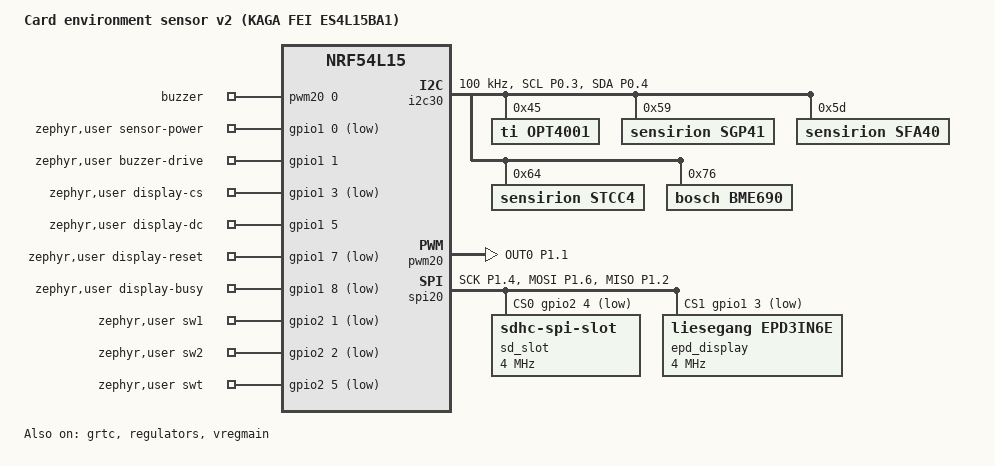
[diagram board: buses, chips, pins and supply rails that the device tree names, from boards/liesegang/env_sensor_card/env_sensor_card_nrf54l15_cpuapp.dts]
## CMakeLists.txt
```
cmake_minimum_required(VERSION 3.20.0)

list(APPEND BOARD_ROOT ${CMAKE_CURRENT_SOURCE_DIR})
# NCS 3.4.1 may cache these generated header names without Kconfig quotes.
foreach(crypto_header MBEDTLS_CONFIG_FILE TF_PSA_CRYPTO_CONFIG_FILE TF_PSA_CRYPTO_USER_CONFIG_FILE)
  unset(CONFIG_${crypto_header} CACHE)
endforeach()
find_package(Zephyr REQUIRED HINTS $ENV{ZEPHYR_BASE})
project(env_sensor_card)

target_sources(app PRIVATE src/main.c src/sd_logger.c src/switch_test.c src/pmic.c
                           src/card_display.c src/card_ble.c src/co2_alarm.c src/card_image_transfer.c
                           src/card_history.c)

set(SHARED_SENSOR_DRIVER_DIR "${CMAKE_CURRENT_SOURCE_DIR}/../../shared/firmware/driver")
foreach(driver common opt4001 bme690 sgp41 stcc4 sht45 sfa40 epd3in6e epd_dashboard)
  add_subdirectory("${SHARED_SENSOR_DRIVER_DIR}/${driver}"
                   "${CMAKE_CURRENT_BINARY_DIR}/shared_${driver}")
endforeach()

add_subdirectory("${CMAKE_CURRENT_SOURCE_DIR}/../../shared/firmware/telemetry"
                 "${CMAKE_CURRENT_BINARY_DIR}/shared_telemetry")
add_subdirectory("${CMAKE_CURRENT_SOURCE_DIR}/../../shared/firmware/history"
                 "${CMAKE_CURRENT_BINARY_DIR}/shared_history")
```

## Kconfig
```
mainmenu "Card environment sensor"

source "Kconfig.zephyr"
rsource "../../shared/firmware/telemetry/Kconfig"

config CARD_TEST_CADENCE
	bool "Accelerated SD/display hardware verification (40 seconds)"
	default n
	help
	  Diagnostic only. Measurement stays at 1 Hz and BLE at 60 seconds.
	  SD and display intervals become 40 rather than 600 seconds.
	  Diagnostic CSV files use the TST prefix.

config CARD_SWITCH_POLL_MS
	int "Poll interval for switch ports without GPIO interrupts (0 disables)"
	range 0 1000
	default 50
	help
	  Card v2 switches are on P2, which cannot generate interrupts or wake
	  the CPU. The application stays in System ON and polls every 50 ms
	  for responsive UI and asynchronous three-second pairing holds.

config CARD_ALARM_TEST_ON_BOOT
	bool "Sound the five-beep CO2 alarm once at boot for hardware verification"
	default n
	help
	  Diagnostic only. Exercises the alarm with 1201 ppm without changing
	  any actual sensor value, SD record, graph or BLE telemetry packet.
```

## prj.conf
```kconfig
CONFIG_GPIO=y
CONFIG_PWM=y
CONFIG_PM_DEVICE=y
CONFIG_PM_DEVICE_RUNTIME=y
# Keep the application in System ON; only short RTOS scheduling waits remain.
CONFIG_PM=n
CONFIG_POWEROFF=n
CONFIG_I2C=y
CONFIG_I2C_NRFX_TRANSFER_TIMEOUT=100
CONFIG_SPI=y
CONFIG_CPP=y
CONFIG_STD_CPP11=y
CONFIG_PICOLIBC_IO_FLOAT=y
CONFIG_DISK_DRIVER_SDMMC=y
CONFIG_FILE_SYSTEM=y
CONFIG_FAT_FILESYSTEM_ELM=y
# Never format an existing or unrecognized card while mounting it.
CONFIG_FS_FATFS_MOUNT_MKFS=n
CONFIG_FS_FATFS_MKFS=n

# The card has no UART console; use the connected SWD probe.
CONFIG_CONSOLE=y
CONFIG_USE_SEGGER_RTT=y
CONFIG_RTT_CONSOLE=y
CONFIG_UART_CONSOLE=n
CONFIG_SERIAL=n
CONFIG_PRINTK=y
CONFIG_SEGGER_RTT_MODE_NO_BLOCK_SKIP=y
CONFIG_SEGGER_RTT_BUFFER_SIZE_UP=8192
# Firmware updates can move RTT buffers; reset retained control-block pointers.
CONFIG_SEGGER_RTT_INIT_MODE_ALWAYS=y

CONFIG_MAIN_STACK_SIZE=4096
CONFIG_BUILD_OUTPUT_HEX=y
CONFIG_NRF_APPROTECT_DISABLE=y

CONFIG_CARD_TEST_CADENCE=n
CONFIG_CARD_ALARM_TEST_ON_BOOT=n
CONFIG_CARD_SWITCH_POLL_MS=50
CONFIG_BT=y
CONFIG_BT_PERIPHERAL=y
CONFIG_BT_DEVICE_NAME="Card Sensor"
CONFIG_BT_MAX_CONN=1
CONFIG_BT_SMP=y
CONFIG_BT_SMP_SC_ONLY=y
CONFIG_BT_SMP_APP_PAIRING_ACCEPT=y
CONFIG_BT_APP_PASSKEY=y
CONFIG_BT_BONDABLE=y
CONFIG_BT_BONDING_REQUIRED=y
CONFIG_BT_MAX_PAIRED=1
CONFIG_BT_SETTINGS=y
CONFIG_BT_GATT_SERVICE_CHANGED=y
CONFIG_BT_GATT_CACHING=y
# Save CCC as the link disconnects, without an extra periodic delayed write.
CONFIG_BT_SETTINGS_CCC_STORE_ON_WRITE=n
CONFIG_BT_SETTINGS_CF_STORE_ON_WRITE=n
CONFIG_ENV_TELEMETRY_SECURE=y
# Internal RRAM key storage; do not put secrets in the removable SD filesystem.
CONFIG_FLASH=y
CONFIG_FLASH_MAP=y
CONFIG_USE_DT_CODE_PARTITION=y
CONFIG_SETTINGS=y
CONFIG_ZMS=y
CONFIG_SETTINGS_ZMS=y
CONFIG_ZMS_NO_DOUBLE_WRITE=y
CONFIG_BT_L2CAP_TX_MTU=247
CONFIG_BT_BUF_ACL_RX_SIZE=251
CONFIG_BT_BUF_ACL_TX_SIZE=251
# Release the controller and its LFRC calibration timer between minute windows.
CONFIG_DYNAMIC_INTERRUPTS=y
CONFIG_DYNAMIC_DIRECT_INTERRUPTS=y
CONFIG_MPSL_DYNAMIC_INTERRUPTS=y
CONFIG_BT_UNINIT_MPSL_ON_DISABLE=y
# Transfer every 1-Hz record in short connections (15--30 ms, no latency).
CONFIG_BT_PERIPHERAL_PREF_MIN_INT=12
CONFIG_BT_PERIPHERAL_PREF_MAX_INT=24
CONFIG_BT_PERIPHERAL_PREF_LATENCY=0
CONFIG_BT_PERIPHERAL_PREF_TIMEOUT=600
CONFIG_CLOCK_CONTROL_NRF_K32SRC_RC_CALIBRATION=y
CONFIG_CLOCK_CONTROL_NRF_K32SRC_500PPM=y
CONFIG_SYSTEM_WORKQUEUE_STACK_SIZE=3072
```

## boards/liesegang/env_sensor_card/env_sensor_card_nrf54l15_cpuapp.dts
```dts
/dts-v1/;

#include <nordic/nrf54l15_cpuapp.dtsi>
#include <zephyr/dt-bindings/gpio/gpio.h>
#include <zephyr/dt-bindings/i2c/i2c.h>
#include <zephyr/dt-bindings/pinctrl/nrf-pinctrl.h>
#include <zephyr/dt-bindings/regulator/nrf5x.h>
#include <zephyr/dt-bindings/pwm/pwm.h>

/ {
	model = "Card environment sensor v2 (KAGA FEI ES4L15BA1)";
	compatible = "liesegang,env-sensor-card";

	chosen {
		zephyr,sram = &cpuapp_sram;
		zephyr,flash = &cpuapp_rram;
		zephyr,flash-controller = &rram_controller;
		zephyr,code-partition = &code_partition;
		zephyr,settings-partition = &storage_partition;
	};

	aliases {
		i2c-sensors = &i2c30;
		buzzer = &buzzer;
	};

	buzzers {
		compatible = "pwm-leds";
		buzzer: buzzer {
			/* UGCT7525: 2700 Hz resonance, square wave at 50% duty. */
			pwms = <&pwm20 0 PWM_HZ(2700) PWM_POLARITY_NORMAL>;
		};
	};

	zephyr,user {
		/* P1.00 low turns on FET3 and supplies +V to BUZZ1. */
		sensor-power-gpios = <&gpio1 0 GPIO_ACTIVE_LOW>;
		/* Keep the active-high buzzer transistor off. */
		buzzer-drive-gpios = <&gpio1 1 GPIO_ACTIVE_HIGH>;
		/* Display shares SD SCK/MOSI and uses a separate chip select. */
		display-cs-gpios = <&gpio1 3 GPIO_ACTIVE_LOW>;
		display-dc-gpios = <&gpio1 5 GPIO_ACTIVE_HIGH>;
		display-reset-gpios = <&gpio1 7 GPIO_ACTIVE_LOW>;
		display-busy-gpios = <&gpio1 8 GPIO_ACTIVE_LOW>;
		/* S1 wheel: contacts 1, 2 and T close to grounded C1/C2. */
		sw1-gpios = <&gpio2 1 GPIO_ACTIVE_LOW>;
		sw2-gpios = <&gpio2 2 GPIO_ACTIVE_LOW>;
		swt-gpios = <&gpio2 5 GPIO_ACTIVE_LOW>;
	};
};

&cpuapp_rram {
	partitions {
		#address-cells = <1>;
		#size-cells = <1>;
		code_partition: partition@0 {
			compatible = "zephyr,mapped-partition";
			label = "card-app";
			reg = <0x0 0x174000>;
		};
		/* Same 36 KiB storage range as the SDK nRF54L15 layout. */
		storage_partition: partition@174000 {
			compatible = "zephyr,mapped-partition";
			label = "storage";
			reg = <0x174000 0x9000>;
		};
	};
};

&cpuapp_sram {
	status = "okay";
};

&clock {
	status = "okay";
};

&grtc {
	owned-channels = <0 1 2 3 4 5 6 7 8 9 10 11>;
	child-owned-channels = <3 4 7 8 9 10 11>;
	status = "okay";
};

&lfxo {
	status = "disabled";
};

/* Match the same ES4L15BA1 module used by the working Outdoor BLE board. */
&hfxo {
	load-capacitors = "internal";
	load-capacitance-femtofarad = <15000>;
};

&regulators {
	status = "okay";
};

&vregmain {
	status = "okay";
	regulator-initial-mode = <NRF5X_REG_MODE_DCDC>;
};

&gpio0 {
	status = "okay";
};

&gpio1 {
	status = "okay";
};

&gpio2 {
	status = "okay";
};

&gpiote20 {
	status = "okay";
};

&gpiote30 {
	status = "okay";
};

&pinctrl {
	buzzer_pwm_default: buzzer_pwm_default {
		group1 {
			psels = <NRF_PSEL(PWM_OUT0, 1, 1)>;
		};
	};

	buzzer_pwm_sleep: buzzer_pwm_sleep {
		group1 {
			psels = <NRF_PSEL(PWM_OUT0, 1, 1)>;
			low-power-enable;
		};
	};

	i2c30_default: i2c30_default {
		group1 {
			/* R12/R13 are 5.1-kohm pull-ups to switched +V. */
			psels = <NRF_PSEL(TWIM_SCL, 0, 3)>,
				<NRF_PSEL(TWIM_SDA, 0, 4)>;
		};
	};

	i2c30_sleep: i2c30_sleep {
		group1 {
			psels = <NRF_PSEL(TWIM_SCL, 0, 3)>,
				<NRF_PSEL(TWIM_SDA, 0, 4)>;
			low-power-enable;
		};
	};

	sd_spi_default: sd_spi_default {
		group1 {
			psels = <NRF_PSEL(SPIM_SCK, 1, 4)>,
				<NRF_PSEL(SPIM_MOSI, 1, 6)>,
				<NRF_PSEL(SPIM_MISO, 1, 2)>;
		};
	};

	sd_spi_sleep: sd_spi_sleep {
		group1 {
			psels = <NRF_PSEL(SPIM_SCK, 1, 4)>,
				<NRF_PSEL(SPIM_MOSI, 1, 6)>,
				<NRF_PSEL(SPIM_MISO, 1, 2)>;
			low-power-enable;
		};
	};
};

&i2c30 {
	status = "okay";
	clock-frequency = <I2C_BITRATE_STANDARD>;
	pinctrl-0 = <&i2c30_default>;
	pinctrl-1 = <&i2c30_sleep>;
	pinctrl-names = "default", "sleep";

	opt4001: light@45 {
		compatible = "ti,opt4001";
		reg = <0x45>;
	};

	sgp41: gas@59 {
		compatible = "sensirion,sgp41";
		reg = <0x59>;
	};

	sfa40: formaldehyde@5d {
		compatible = "sensirion,sfa40";
		reg = <0x5d>;
	};

	stcc4: co2@64 {
		compatible = "sensirion,stcc4";
		reg = <0x64>;
		measurement-mode = <0>;
	};

	bme690: environment@76 {
		compatible = "bosch,bme690";
		reg = <0x76>;
	};
};

&pwm20 {
	status = "okay";
	pinctrl-0 = <&buzzer_pwm_default>;
	pinctrl-1 = <&buzzer_pwm_sleep>;
	pinctrl-names = "default", "sleep";
};

&spi20 {
	status = "okay";
	pinctrl-0 = <&sd_spi_default>;
	pinctrl-1 = <&sd_spi_sleep>;
	pinctrl-names = "default", "sleep";
	cs-gpios = <&gpio2 4 GPIO_ACTIVE_LOW>, <&gpio1 3 GPIO_ACTIVE_LOW>;

	sd_slot: sd@0 {
		compatible = "zephyr,sdhc-spi-slot";
		reg = <0>;
		spi-max-frequency = <4000000>;

		sd_card: sd {
			compatible = "zephyr,sdmmc-disk";
			disk-name = "SD";
		};
	};

	epd_display: display@1 {
		compatible = "liesegang,epd3in6e";
		reg = <1>;
		spi-max-frequency = <4000000>;
	};
};

&uicr {
	/* P1.02 is SD MISO, P1.03 is display CS: release both NFC pads. */
	nfct-pins-as-gpios;
};
```

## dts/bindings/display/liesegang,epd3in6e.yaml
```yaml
description: Waveshare 3.6 inch Spectra 6 e-paper (E), 400 by 600 pixels
compatible: "liesegang,epd3in6e"
include: spi-device.yaml
```

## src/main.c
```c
#include <bme690.h>
#include <opt4001.h>
#include <sgp41.h>
#include <stcc4.h>
#include <sfa40.h>

#include "sd_logger.h"
#include "card_sample.h"
#include "card_ble.h"
#include "card_history.h"
#include "switch_test.h"
#include "pmic.h"
#include "card_display.h"
#include "co2_alarm.h"
#include "card_cadence.h"
#include "card_image_transfer.h"

#include <errno.h>
#include <stdbool.h>
#include <string.h>

#include <zephyr/drivers/gpio.h>
#include <zephyr/kernel.h>
#include <zephyr/pm/device_runtime.h>
#include <zephyr/sys/printk.h>
#include <zephyr/sys/util.h>
#include <zephyr/sys/atomic.h>

static const struct gpio_dt_spec buzzer_drive =
	GPIO_DT_SPEC_GET(DT_PATH(zephyr_user), buzzer_drive_gpios);
static const struct gpio_dt_spec sensor_power =
	GPIO_DT_SPEC_GET(DT_PATH(zephyr_user), sensor_power_gpios);
static const struct gpio_dt_spec display_cs =
	GPIO_DT_SPEC_GET(DT_PATH(zephyr_user), display_cs_gpios);
static const struct gpio_dt_spec display_reset =
	GPIO_DT_SPEC_GET(DT_PATH(zephyr_user), display_reset_gpios);

static atomic_t opt_ready;
static atomic_t bme_ready;
static atomic_t sgp_ready;
static atomic_t stcc_ready;
static bool stcc_has_sht;
static bool stcc_needs_external_rht;
static uint16_t stcc_self_test;
static atomic_t sfa_ready;
static struct opt4001_sample last_opt;
static struct bme690_sample last_bme;
static struct stcc4_sample last_stcc;
static struct sgp41_sample last_sgp;
static struct sfa40_sample last_sfa;
static bool sfa_sample_available;
static bool display_ready;
static bool alarm_ready;

struct card_snapshot {
	struct card_sample sample;
	struct opt4001_sample opt;
	struct bme690_sample bme;
	struct stcc4_sample stcc;
	struct sgp41_sample sgp;
	struct sfa40_sample sfa;
	bool sfa_available;
	int64_t started_ms;
};
static struct card_snapshot latest_snapshot;
K_MUTEX_DEFINE(snapshot_lock);
K_SEM_DEFINE(acquisition_start, 0, 1);
K_SEM_DEFINE(first_sample_available, 0, 1);

BUILD_ASSERT(DT_GPIO_PIN(DT_PATH(zephyr_user), buzzer_drive_gpios) == 1,
	     "The v2 buzzer drive is on P1.01");
BUILD_ASSERT(DT_GPIO_FLAGS(DT_PATH(zephyr_user), buzzer_drive_gpios) == GPIO_ACTIVE_HIGH,
	     "The v2 buzzer drive is active-high");
BUILD_ASSERT(DT_GPIO_PIN(DT_PATH(zephyr_user), sensor_power_gpios) == 0,
	     "The v2 +V enable is on P1.00");
BUILD_ASSERT(DT_GPIO_FLAGS(DT_PATH(zephyr_user), sensor_power_gpios) == GPIO_ACTIVE_LOW,
	     "The v2 +V enable is active-low");

static void print_milli(int32_t value)
{
	uint32_t magnitude = value < 0 ? (uint32_t)-(int64_t)value : (uint32_t)value;

	printk("%s%u.%03u", value < 0 ? "-" : "", magnitude / 1000, magnitude % 1000);
}

static bool report_init(const char *name, int err)
{
	if (err != 0) {
		printk("ERROR: %s init failed: %d\n", name, err);
		return false;
	}
	printk("%s READY\n", name);
	return true;
}

static int power_on_sensors(void)
{
	if (!gpio_is_ready_dt(&sensor_power) || !gpio_is_ready_dt(&buzzer_drive) ||
	    !gpio_is_ready_dt(&display_cs) || !gpio_is_ready_dt(&display_reset)) {
		return -ENODEV;
	}
	/* Hold the switched rail off until the buzzer pin is driven low. */
	int err = gpio_pin_configure_dt(&sensor_power, GPIO_OUTPUT_INACTIVE);

	if (err != 0) {
		return err;
	}
	err = gpio_pin_configure_dt(&buzzer_drive, GPIO_OUTPUT_INACTIVE);
	if (err != 0) {
		return err;
	}
	/* Hold the panel deselected and in reset before its BUCK1 supply starts. */
	err = gpio_pin_configure_dt(&display_cs, GPIO_OUTPUT_INACTIVE);
	if (err != 0) {
		return err;
	}
	err = gpio_pin_configure_dt(&display_reset, GPIO_OUTPUT_ACTIVE);
	if (err != 0) {
		return err;
	}
	err = gpio_pin_set_dt(&sensor_power, 1);
	if (err == 0) {
		printk("+V ON; buzzer drive held low\n");
	}
	return err;
}

static void initialize_stcc(void)
{
	int err = stcc4_init_with_diagnostic(&stcc_self_test);

	if (err != 0) {
		printk("ERROR: STCC4 diagnostic: %d; trying normal continuous init\n", err);
		err = stcc4_init();
		stcc_has_sht = false;
		stcc_needs_external_rht = false;
	} else {
		stcc_has_sht = stcc_self_test == 0;
		stcc_needs_external_rht = (stcc_self_test & BIT(4)) != 0;
		printk("STCC4 self-test=0x%04x SHT45=%s\n", stcc_self_test,
		       stcc_has_sht ? "connected" : "unavailable/not validated");
		/* Supply, core I2C and memory faults invalidate CO2 measurements.
		 * A missing auxiliary SHT4x (bit 4) can use external compensation.
		 */
		if (stcc_self_test & (BIT(0) | BIT(3) | BIT(5) | BIT(6))) {
			printk("ERROR: STCC4 diagnostic fault; CO2 remains missing\n");
			err = -EIO;
		}
	}
	atomic_set(&stcc_ready, report_init("STCC4 continuous 1Hz", err));
}

static void initialize_sensors(void)
{
	atomic_set(&opt_ready, report_init("OPT4001 continuous", opt4001_init()));
	atomic_set(&bme_ready, report_init("BME690 1Hz forced", bme690_init()));
	atomic_set(&sgp_ready, report_init("SGP41 continuous 1Hz/indices", sgp41_init()));
	initialize_stcc();
	/* Absent SFA40 is expected; detect it again at the next minute. */
	atomic_set(&sfa_ready, sfa40_init() == 0);
	printk("SFA40 %s\n", atomic_get(&sfa_ready) ? "READY" : "not installed/unavailable");
}

static void read_sensors(struct card_sample *sample)
{
	int32_t compensation_temp = 25000, compensation_rh = 50000;
	int err;

	sfa_sample_available = false;

	if (atomic_get(&bme_ready)) {
		err = bme690_read(&last_bme);
		if (err == 0) {
			sample->bme_temperature_mc = last_bme.temperature_mc;
			sample->bme_humidity_mpercent = last_bme.humidity_mpercent;
			sample->temperature_mc = last_bme.temperature_mc;
			sample->humidity_mpercent = last_bme.humidity_mpercent;
			sample->pressure_pa = last_bme.pressure_pa;
			sample->gas_resistance_ohm = last_bme.gas_resistance_ohm;
			sample->gas_valid = last_bme.gas_valid;
			sample->heater_stable = last_bme.heater_stable;
			sample->rht_source = CARD_RHT_BME690;
			sample->valid |= CARD_VALID_TEMPERATURE | CARD_VALID_HUMIDITY |
				CARD_VALID_BME_TEMPERATURE | CARD_VALID_BME_HUMIDITY |
				CARD_VALID_PRESSURE;
			if (last_bme.gas_valid) {
				sample->valid |= CARD_VALID_BME_GAS;
			}
			compensation_temp = last_bme.temperature_mc;
			compensation_rh = last_bme.humidity_mpercent;
			printk("BME690: temp_C=");
			print_milli(last_bme.temperature_mc);
			printk(" rh_pct=");
			print_milli(last_bme.humidity_mpercent);
			printk(" pressure_Pa=%u gas_ohm=%u\n", last_bme.pressure_pa,
			       last_bme.gas_resistance_ohm);
		} else {
			printk("ERROR: BME690 read: %d\n", err);
			if (err != -EAGAIN) { atomic_clear(&bme_ready); }
		}
	}
	if (atomic_get(&stcc_ready)) {
		if (stcc_needs_external_rht) {
			err = stcc4_set_rht_compensation(compensation_temp, compensation_rh);
			if (err != 0) {
				printk("ERROR: STCC4 RHT compensation: %d\n", err);
			}
		}
		err = stcc4_read_wait(&last_stcc, 200);
		if (err == 0) {
			sample->co2_ppm = last_stcc.co2_ppm;
			sample->stcc_status = last_stcc.status;
			sample->stcc_self_test = stcc_self_test;
			if (last_stcc.co2_ppm >= 0) {
				sample->valid |= CARD_VALID_CO2;
			}
			printk("STCC4: co2_ppm=%d status=0x%04x continuous\n",
			       last_stcc.co2_ppm, last_stcc.status);
			if (stcc_has_sht) {
				sample->temperature_mc = last_stcc.temperature_mc;
				sample->humidity_mpercent = last_stcc.humidity_mpercent;
				sample->rht_source = CARD_RHT_SHT45;
				sample->valid |= CARD_VALID_TEMPERATURE | CARD_VALID_HUMIDITY;
				compensation_temp = last_stcc.temperature_mc;
				compensation_rh = last_stcc.humidity_mpercent;
				printk("SHT45: via=STCC4 temp_C=");
				print_milli(last_stcc.temperature_mc);
				printk(" rh_pct=");
				print_milli(last_stcc.humidity_mpercent);
				printk("\n");
			}
		} else {
			printk("ERROR: STCC4 read: %d\n", err);
			if (err != -EAGAIN) { atomic_clear(&stcc_ready); }
		}
	}
	if (atomic_get(&opt_ready)) {
		err = opt4001_read(&last_opt);
		if (err == 0) {
			sample->millilux = last_opt.millilux;
			sample->valid |= CARD_VALID_LUX;
			printk("OPT4001: lux=%u.%03u continuous\n",
			       last_opt.millilux / 1000, last_opt.millilux % 1000);
		} else {
			printk("ERROR: OPT4001 read: %d\n", err);
			if (err != -EAGAIN) { atomic_clear(&opt_ready); }
		}
	}
	if (atomic_get(&sfa_ready)) {
		err = sfa40_read(&last_sfa);
		if (err == 0) {
			sfa_sample_available = true;
			if (last_sfa.ready && last_sfa.within_specification) {
				sample->hcho_millippb = last_sfa.hcho_millippb;
				sample->valid |= CARD_VALID_HCHO;
			}
			printk("SFA40: hcho_millippb=%d ready=%u within_spec=%u\n",
			       last_sfa.hcho_millippb, last_sfa.ready,
			       last_sfa.within_specification);
		} else {
			printk("ERROR: SFA40 read: %d\n", err);
			if (err != -EAGAIN) { atomic_clear(&sfa_ready); }
		}
	}
	if (atomic_get(&sgp_ready)) {
		err = sgp41_read(compensation_temp, compensation_rh, &last_sgp);
		if (err == 0) {
			sample->raw_voc = last_sgp.raw_voc;
			sample->raw_nox = last_sgp.raw_nox;
			sample->valid |= CARD_VALID_VOC_RAW;
			if (last_sgp.nox_valid) {
				sample->valid |= CARD_VALID_NOX_RAW;
			}
			sample->voc_index = last_sgp.voc_index;
			sample->nox_index = last_sgp.nox_index;
			if (last_sgp.voc_index_valid) { sample->valid |= CARD_VALID_VOC_INDEX; }
			if (last_sgp.nox_index_valid) { sample->valid |= CARD_VALID_NOX_INDEX; }
			printk("SGP41: raw_voc=%u raw_nox=%u voc_index=%u/%u nox_index=%u/%u\n",
			       last_sgp.raw_voc, last_sgp.raw_nox,
			       last_sgp.voc_index, last_sgp.voc_index_valid,
			       last_sgp.nox_index, last_sgp.nox_index_valid);
		} else {
			printk("ERROR: SGP41 read: %d\n", err);
			if (err != -EAGAIN) { atomic_clear(&sgp_ready); }
		}
	}
}

/* Recover one unavailable driver from main while the 1-Hz thread continues
 * reading the other devices. Ready is published only after init completes. */
static void recover_sensors(void)
{
	if (!atomic_get(&opt_ready)) { atomic_set(&opt_ready, report_init("OPT4001 retry", opt4001_init())); }
	if (!atomic_get(&bme_ready)) { atomic_set(&bme_ready, report_init("BME690 retry", bme690_init())); }
	if (!atomic_get(&sgp_ready)) { atomic_set(&sgp_ready, report_init("SGP41 retry", sgp41_init())); }
	if (!atomic_get(&stcc_ready)) { initialize_stcc(); }
	if (!atomic_get(&sfa_ready)) { atomic_set(&sfa_ready, sfa40_init() == 0); }
}

static void acquire_samples(void *arg1, void *arg2, void *arg3)
{
	ARG_UNUSED(arg1); ARG_UNUSED(arg2); ARG_UNUSED(arg3);
	k_sem_take(&acquisition_start, K_FOREVER);
	int64_t next_sample = k_uptime_get();
	uint32_t dropped_rows = 0;
	for (uint32_t sequence = 1; ; ++sequence) {
		k_sleep(K_TIMEOUT_ABS_MS(next_sample));
		int64_t started_ms = k_uptime_get();
		struct card_sample sample = {
			.sequence = sequence,
			.uptime_s = (uint32_t)(started_ms / 1000),
			.unix_s = card_ble_unix_seconds(started_ms),
		};
		read_sensors(&sample);
		if (alarm_ready) {
			co2_alarm_evaluate((sample.valid & CARD_VALID_CO2) != 0, sample.co2_ppm);
		}
		int error = sd_logger_queue(&sample);
		if (error) {
			++dropped_rows;
			if (dropped_rows == 1 || dropped_rows % 60 == 0) {
				printk("ERROR: SD queue=%d dropped_rows=%u; acquisition continues\n", error, dropped_rows);
			}
		}
		if (display_ready) { card_display_record(&sample); }
		k_mutex_lock(&snapshot_lock, K_FOREVER);
		latest_snapshot = (struct card_snapshot){
			.sample = sample, .opt = last_opt, .bme = last_bme,
			.stcc = last_stcc, .sgp = last_sgp, .sfa = last_sfa,
			.sfa_available = sfa_sample_available, .started_ms = started_ms,
		};
		k_mutex_unlock(&snapshot_lock);
		if (sequence == 1) { k_sem_give(&first_sample_available); }
		int64_t completed_ms = k_uptime_get();
		printk("SAMPLE %u at %lld ms duration=%lld ms valid=0x%04x\n",
		       sequence, (long long)started_ms, (long long)(completed_ms - started_ms), sample.valid);
		int64_t advanced = card_cadence_advance(next_sample, completed_ms, CARD_SAMPLE_PERIOD_MS);
		if (advanced - next_sample > CARD_SAMPLE_PERIOD_MS) {
			printk("ERROR: sample deadline missed; skipped=%u\n",
			       (unsigned int)((advanced - next_sample) / CARD_SAMPLE_PERIOD_MS - 1));
		}
		next_sample = advanced;
	}
}
K_THREAD_DEFINE(card_acquisition, 4096, acquire_samples, NULL, NULL, NULL, 5, 0, 0);

/* A short PUSH toggles screens on release. A long pairing hold never starts
 * an unnecessary graph/image refresh in front of the upcoming PIN screen. */
static void handle_switch(enum card_switch_contact contact, bool pressed,
                          uint32_t count, void *context)
{
	static int64_t push_pressed_ms = -1;
	if (contact != CARD_SWITCH_PUSH) {
		card_display_button(contact, pressed, count, context);
	} else if (pressed) {
		push_pressed_ms = k_uptime_get();
	} else if (push_pressed_ms >= 0) {
		int64_t held_ms = k_uptime_get() - push_pressed_ms;
		push_pressed_ms = -1;
		if (held_ms < 3000 && !card_ble_pairing_button_consumed()) {
			card_display_button(CARD_SWITCH_PUSH, true, count, context);
		}
	}
}

static void request_display(void)
{
	if (!display_ready) { return; }
	int error = card_display_refresh_periodic();
	if (error && error != -EALREADY && error != -EBUSY) {
		printk("ERROR: display request: %d\n", error);
	}
}

static void publish_snapshot(void)
{
	struct card_snapshot snapshot;
	k_mutex_lock(&snapshot_lock, K_FOREVER);
	snapshot = latest_snapshot;
	k_mutex_unlock(&snapshot_lock);
	int error = card_ble_publish(&snapshot.sample,
		(snapshot.sample.valid & CARD_VALID_LUX) ? &snapshot.opt : NULL,
		(snapshot.sample.valid & CARD_VALID_PRESSURE) ? &snapshot.bme : NULL,
		(snapshot.sample.valid & CARD_VALID_VOC_RAW) ? &snapshot.sgp : NULL,
		(snapshot.sample.valid & CARD_VALID_CO2) ? &snapshot.stcc : NULL,
		snapshot.sfa_available ? &snapshot.sfa : NULL);
	if (error) { printk("ERROR: BLE publish: %d\n", error); }
}

int main(void)
{
	int err = power_on_sensors();
	if (err != 0) { printk("ERROR: power/buzzer setup: %d\n", err); return err; }
	alarm_ready = report_init("CO2 alarm", co2_alarm_init());
	k_msleep(1000);
	/* Device runtime PM only releases idle bus/PWM clocks. System PM and
	 * System OFF are disabled; sensor heaters/continuous sessions remain on. */
	err = pm_device_runtime_enable(DEVICE_DT_GET(DT_NODELABEL(i2c30)));
	if (err) { printk("ERROR: I2C runtime PM: %d\n", err); }
	err = pm_device_runtime_enable(DEVICE_DT_GET(DT_NODELABEL(spi20)));
	if (err) { printk("ERROR: SPI runtime PM: %d\n", err); }
	err = pmic_init();
	display_ready = err == 0;
	if (err) { printk("ERROR: nPM1300 setup: %d\n", err); }
	err = pmic_charger_enable(4200, 32);
	if (err) { printk("ERROR: charger enable: %d\n", err); }
	k_msleep(2000);
	(void)pmic_log_status();
	initialize_sensors();
	/* The first continuous STCC4/OPT conversion needs a full interval. */
	k_msleep(1100);
	if (display_ready) { display_ready = card_display_init(true) == 0; }
	if (display_ready) { switch_test_set_handler(handle_switch, NULL); }
	err = switch_test_start();
	if (err) { printk("ERROR: switch setup: %d\n", err); }
	bool ble_ready = report_init("Card BLE", card_ble_init());
	if (ble_ready) { switch_test_set_poll_handler(card_ble_check_pairing_button); }
	struct card_ble_clock clock;
	card_ble_clock_snapshot(&clock);
	err = sd_logger_set_boot_id(clock.boot_id);
	if (err) { printk("ERROR: history boot identity: %d\n", err); }
	err = sd_logger_init();
	if (err) { printk("ERROR: SD worker init: %d\n", err); }
	if (ble_ready) { (void)report_init("Card history", card_history_init()); }
	if (display_ready) {
		err = card_image_transfer_init();
		if (err) { printk("ERROR: image service init: %d\n", err); }
	}

	printk("CARD CADENCE: sample=1 s BLE=60 s SD=%u s display=%u s%s\n",
	       CARD_IO_PERIOD_MS / 1000, CARD_IO_PERIOD_MS / 1000,
	       IS_ENABLED(CONFIG_CARD_TEST_CADENCE) ? " (TEST)" : "");
	printk("CARD POWER: System ON; no System OFF; SGP41/STCC4/OPT continuous; switches=50ms\n");
	if (alarm_ready && IS_ENABLED(CONFIG_CARD_ALARM_TEST_ON_BOOT)) {
		printk("CO2 ALERT TEST: one-shot alarm only; actual sensor values unchanged\n");
		co2_alarm_evaluate(true, 1201);
	}
	k_sem_give(&acquisition_start);
	k_sem_take(&first_sample_available, K_FOREVER);
	k_mutex_lock(&snapshot_lock, K_FOREVER);
	int64_t origin_ms = latest_snapshot.started_ms;
	k_mutex_unlock(&snapshot_lock);
	int64_t next_ble = origin_ms + CARD_BLE_PERIOD_MS;
	int64_t next_io = origin_ms + CARD_IO_PERIOD_MS;
	if (ble_ready) { publish_snapshot(); }
	request_display();

	for (;;) {
		k_sleep(K_TIMEOUT_ABS_MS(MIN(next_ble, next_io)));
		int64_t now = k_uptime_get();
		if (now >= next_ble) {
			if (ble_ready) { publish_snapshot(); }
			next_ble = card_cadence_advance(next_ble, k_uptime_get(), CARD_BLE_PERIOD_MS);
			/* Slow driver recovery cannot hold up the dedicated 1-Hz thread. */
			recover_sensors();
		}
		now = k_uptime_get();
		if (now >= next_io) {
			err = sd_logger_flush_async();
			if (err && err != -EALREADY) { printk("ERROR: SD flush request: %d\n", err); }
			request_display();
			next_io = card_cadence_advance(next_io, k_uptime_get(), CARD_IO_PERIOD_MS);
		}
	}
}
```

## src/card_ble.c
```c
/* SPDX-License-Identifier: MIT */
#include "card_ble.h"
#include "card_display.h"
#include <env_telemetry_ble.h>
#include <env_clock.h>
#include <errno.h>
#include <zephyr/kernel.h>
#include <zephyr/drivers/gpio.h>
#include <zephyr/sys/printk.h>
#include <zephyr/random/random.h>
#include <zephyr/bluetooth/conn.h>
#include <zephyr/bluetooth/gatt.h>

static bool push_held_latch;
static bool push_consumed;
static int64_t push_started_ms = -1;
K_MUTEX_DEFINE(clock_lock);
static struct card_ble_clock clock_state;

static int set_clock_packet(const void *buffer, size_t length, void *context)
{
    ARG_UNUSED(context);
    uint64_t unix_ms = 0;
    int decoded = env_clock_decode_write(buffer, length, &unix_ms);
    if (decoded < 0) { return decoded; }
    k_mutex_lock(&clock_lock, K_FOREVER);
    clock_state.unix_anchor_s = unix_ms / 1000;
    clock_state.uptime_anchor_s = (uint32_t)(k_uptime_get() / 1000);
    if (++clock_state.revision == 0) { ++clock_state.revision; }
    k_mutex_unlock(&clock_lock);
    return 0;
}

uint64_t card_ble_unix_seconds(int64_t uptime_ms)
{
    k_mutex_lock(&clock_lock, K_FOREVER);
    uint64_t result = 0;
    if (clock_state.unix_anchor_s && uptime_ms >= 0) {
        int64_t estimated = (int64_t)clock_state.unix_anchor_s + uptime_ms / 1000 - clock_state.uptime_anchor_s;
        if (estimated >= 1577836800LL && estimated < 4102444800LL) { result = (uint64_t)estimated; }
    }
    k_mutex_unlock(&clock_lock);
    return result;
}

void card_ble_clock_snapshot(struct card_ble_clock *clock)
{
    if (!clock) { return; }
    k_mutex_lock(&clock_lock, K_FOREVER);
    *clock = clock_state;
    k_mutex_unlock(&clock_lock);
}

int card_ble_init(void)
{
    /* Reserved high-bit namespace belongs to CSV files created before BootID
     * support. The cryptographic RNG is available independently of bt_enable.
     */
    k_mutex_lock(&clock_lock, K_FOREVER);
    if (!clock_state.boot_id) {
        uint64_t identity = 0;
        int random_error = sys_csrand_get(&identity, sizeof(identity));
        if (random_error) { k_mutex_unlock(&clock_lock); return random_error; }
        identity &= INT64_MAX;
        if (!identity) { identity = 1; }
        clock_state.boot_id = identity;
    }
    k_mutex_unlock(&clock_lock);
    printk("CARD BLE: startup secure=%u\n", IS_ENABLED(CONFIG_ENV_TELEMETRY_SECURE));
    struct env_telemetry_sample initial = {
        .uptime_ms = k_uptime_get(), .enabled_mask = 0x4f,
        .opt4001.error = -EAGAIN, .bme690.error = -EAGAIN,
        .sgp41.error = -EAGAIN, .stcc4.error = -EAGAIN,
        .sfa40.error = -EAGAIN,
    };
    int err = env_telemetry_ble_publish(&initial);
    if (err) { printk("ERROR: CARD BLE initial telemetry cache=%d\n", err); return err; }
    printk("CARD BLE: initial telemetry cached; initializing transport\n");
    /* 100 ms advertising during the short window; MCU uptime, no RTC sync. */
    const struct env_telemetry_ble_config config = {
        .log_publications = true, .active_window_ms = 5000,
        .advertising_interval_min = 160, .advertising_interval_max = 160,
        .disable_between_windows = true,
        .pairing_window_ms = 180000,
        .pairing_event = card_display_pairing_event,
        .set_clock_packet = set_clock_packet,
    };
    err = env_telemetry_ble_init(&config);
    if (err) { printk("ERROR: CARD BLE transport init=%d\n", err); }
    return err;
}

void card_ble_check_pairing_button(void)
{
    static const struct gpio_dt_spec push =
        GPIO_DT_SPEC_GET(DT_PATH(zephyr_user), swt_gpios);
    int active = gpio_pin_get_dt(&push);
    /* An unreadable input breaks the physical authorization interval too. */
    if (active != 1) { push_held_latch = false; push_started_ms = -1; return; }
    if (push_held_latch) { return; }
    int64_t now = k_uptime_get();
    if (push_started_ms < 0) {
        push_started_ms = now;
        push_consumed = false;
        return;
    }
    if (now - push_started_ms < 3000) { return; }
    push_held_latch = true;
    push_consumed = true;
    int err = env_telemetry_ble_repair();
    printk("BLE SECURITY: physical re-pair requested error=%d\n", err);
}

bool card_ble_pairing_button_consumed(void) { return push_consumed; }

int card_ble_publish(const struct card_sample *sample,
                     const struct opt4001_sample *opt4001,
                     const struct bme690_sample *bme690,
                     const struct sgp41_sample *sgp41,
                     const struct stcc4_sample *stcc4,
                     const struct sfa40_sample *sfa40)
{
    if (!sample) { return -EINVAL; }
    struct env_telemetry_sample frame = {
        .sequence = sample->sequence, .uptime_ms = (uint64_t)sample->uptime_s * 1000,
        .enabled_mask = 0x4f,
        .opt4001.error = -ENODATA, .bme690.error = -ENODATA,
        .sgp41.error = -ENODATA, .stcc4.error = -ENODATA,
        .sfa40.error = -ENODATA,
    };
    if (opt4001) {
        frame.opt4001.error = 0;
        frame.opt4001.value.millilux = opt4001->millilux;
        frame.opt4001.value.mantissa = opt4001->mantissa;
        frame.opt4001.value.device_id = opt4001->device_id;
        frame.opt4001.value.exponent = opt4001->exponent;
        frame.opt4001.value.counter = opt4001->counter;
    }
    if (bme690) {
        frame.bme690.error = 0;
        frame.bme690.value.temperature_mc = bme690->temperature_mc;
        frame.bme690.value.pressure_pa = bme690->pressure_pa;
        frame.bme690.value.humidity_mpercent = bme690->humidity_mpercent;
        frame.bme690.value.gas_resistance_ohm = bme690->gas_resistance_ohm;
        frame.bme690.value.chip_id = bme690->chip_id;
        frame.bme690.value.variant_id = bme690->variant_id;
        frame.bme690.value.status = bme690->status;
        frame.bme690.value.measurement_index = bme690->measurement_index;
        frame.bme690.value.gas_index = bme690->gas_index;
        frame.bme690.value.heater_resistance = bme690->heater_resistance;
        frame.bme690.value.heater_current = bme690->heater_current;
        frame.bme690.value.gas_wait = bme690->gas_wait;
        frame.bme690.value.gas_valid = bme690->gas_valid;
        frame.bme690.value.heater_stable = bme690->heater_stable;
    }
    if (sgp41) {
        frame.sgp41.error = 0;
        frame.sgp41.value.serial_number = sgp41->serial_number;
        frame.sgp41.value.raw_voc = sgp41->raw_voc;
        frame.sgp41.value.raw_nox = sgp41->raw_nox;
        frame.sgp41.value.self_test = sgp41->self_test;
        frame.sgp41.value.temperature_ticks = sgp41->temperature_ticks;
        frame.sgp41.value.humidity_ticks = sgp41->humidity_ticks;
        frame.sgp41.value.nox_valid = sgp41->nox_valid;
        frame.sgp41.value.conditioning = sgp41->conditioning;
        frame.sgp41.value.voc_index = sgp41->voc_index;
        frame.sgp41.value.nox_index = sgp41->nox_index;
        frame.sgp41.value.voc_index_valid = sgp41->voc_index_valid;
        frame.sgp41.value.nox_index_valid = sgp41->nox_index_valid;
    }
    if (stcc4) {
        frame.stcc4.error = 0;
        frame.stcc4.value.serial_number = stcc4->serial_number;
        frame.stcc4.value.product_id = stcc4->product_id;
        frame.stcc4.value.temperature_mc = stcc4->temperature_mc;
        frame.stcc4.value.humidity_mpercent = stcc4->humidity_mpercent;
        frame.stcc4.value.co2_ppm = stcc4->co2_ppm;
        frame.stcc4.value.raw_temperature = stcc4->raw_temperature;
        frame.stcc4.value.raw_humidity = stcc4->raw_humidity;
        frame.stcc4.value.status = stcc4->status;
    }
    if (sfa40) {
        frame.sfa40.error = 0;
        frame.sfa40.value.serial_number = sfa40->serial_number;
        frame.sfa40.value.product_id = sfa40->product_id;
        frame.sfa40.value.hcho_millippb = sfa40->hcho_millippb;
        frame.sfa40.value.humidity_mpercent = sfa40->humidity_mpercent;
        frame.sfa40.value.temperature_mc = sfa40->temperature_mc;
        frame.sfa40.value.raw_hcho = sfa40->raw_hcho;
        frame.sfa40.value.raw_humidity = sfa40->raw_humidity;
        frame.sfa40.value.raw_temperature = sfa40->raw_temperature;
        frame.sfa40.value.status = sfa40->status;
        frame.sfa40.value.ready = sfa40->ready;
        frame.sfa40.value.within_specification = sfa40->within_specification;
    }
    return env_telemetry_ble_publish(&frame);
}

/* The dedicated clock service shares the exact setter and integer-second
 * anchors used by legacy OT and history. It appends after existing services.
 */
#define CLOCK_PERMISSIONS (BT_GATT_PERM_READ_LESC | BT_GATT_PERM_WRITE_LESC | \
    BT_GATT_PERM_READ_AUTHEN | BT_GATT_PERM_WRITE_AUTHEN)
#define CLOCK_UUID(n) BT_UUID_INIT_128(BT_UUID_128_ENCODE(0x722acd00U+(n),0xe77f,0x468d,0xa916,0x67e599e7cffdULL))
static struct bt_uuid_128 clock_uuid = CLOCK_UUID(0xb0);
static struct bt_uuid_128 clock_write_uuid = CLOCK_UUID(0xb1);
static struct bt_uuid_128 clock_state_uuid = CLOCK_UUID(0xb2);
K_MUTEX_DEFINE(clock_read_lock);
static uint8_t clock_read_snapshot[32];

static ssize_t write_dedicated_clock(struct bt_conn *conn, const struct bt_gatt_attr *attr,
                           const void *buffer, uint16_t length, uint16_t offset, uint8_t flags)
{
    ARG_UNUSED(attr);
    if (bt_conn_get_security(conn) != BT_SECURITY_L4) { return BT_GATT_ERR(BT_ATT_ERR_AUTHENTICATION); }
    if (offset || flags) { return BT_GATT_ERR(BT_ATT_ERR_INVALID_OFFSET); }
    int error = env_telemetry_ble_hold_history(conn, 5000);
    if (!error) { error = set_clock_packet(buffer, length, NULL); }
    return error ? BT_GATT_ERR(BT_ATT_ERR_VALUE_NOT_ALLOWED) : length;
}

static ssize_t read_dedicated_clock(struct bt_conn *conn, const struct bt_gatt_attr *attr,
                          void *buffer, uint16_t length, uint16_t offset)
{
    if (bt_conn_get_security(conn) != BT_SECURITY_L4) { return BT_GATT_ERR(BT_ATT_ERR_AUTHENTICATION); }
    int error = env_telemetry_ble_hold_history(conn, 5000);
    if (error) { return BT_GATT_ERR(BT_ATT_ERR_UNLIKELY); }
    k_mutex_lock(&clock_read_lock, K_FOREVER);
    if (!offset) {
        struct card_ble_clock clock; card_ble_clock_snapshot(&clock);
        struct env_clock_state state = {
            .flags=clock.revision?ENV_CLOCK_FLAG_KNOWN:0, .boot_id=clock.boot_id, .clock_revision=clock.revision,
            .unix_anchor_ms=clock.unix_anchor_s*1000,
            .uptime_anchor_ms=(uint64_t)clock.uptime_anchor_s*1000,
        };
        error = env_clock_encode_state(&state, clock_read_snapshot, sizeof(clock_read_snapshot));
        if (error >= 0) { error = 0; }
    }
    ssize_t result = error ? BT_GATT_ERR(BT_ATT_ERR_UNLIKELY) :
        bt_gatt_attr_read(conn, attr, buffer, length, offset, clock_read_snapshot, sizeof(clock_read_snapshot));
    k_mutex_unlock(&clock_read_lock); return result;
}

BT_GATT_SERVICE_DEFINE(zzzz_env_clock_service,
    BT_GATT_PRIMARY_SERVICE(&clock_uuid),
    BT_GATT_CHARACTERISTIC(&clock_write_uuid.uuid, BT_GATT_CHRC_WRITE, CLOCK_PERMISSIONS, NULL, write_dedicated_clock, NULL),
    BT_GATT_CHARACTERISTIC(&clock_state_uuid.uuid, BT_GATT_CHRC_READ, CLOCK_PERMISSIONS, read_dedicated_clock, NULL, NULL)
);
```

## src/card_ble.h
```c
/* SPDX-License-Identifier: MIT */
#ifndef CARD_BLE_H_
#define CARD_BLE_H_
#include "card_sample.h"
#include <opt4001.h>
#include <bme690.h>
#include <sgp41.h>
#include <stcc4.h>
#include <sfa40.h>

int card_ble_init(void);
/* Immediate, nonblocking check called by the 50-ms switch polling observer.
 * A continuous three-second PUSH hold authorizes replacing the owner's bond.
 */
void card_ble_check_pairing_button(void);
bool card_ble_pairing_button_consumed(void);
/* UTC seconds for a captured MCU uptime; zero until authenticated OT sync. */
uint64_t card_ble_unix_seconds(int64_t uptime_ms);
struct card_ble_clock {
    uint64_t boot_id;
    uint64_t unix_anchor_s;
    uint32_t uptime_anchor_s;
    uint32_t revision;
};
/* One coherent snapshot for history status/pages. UTC anchor/revision are zero
 * before an authenticated receiver sync; identity is unique for this boot.
 */
void card_ble_clock_snapshot(struct card_ble_clock *clock);
/* Same-sample snapshots; NULL means missing. Data is copied before return.
 * SFA40 is configured as enabled; an absent sensor sends an error TLV.
 * SGP41 index-valid flags are preserved; a raw burst does not imply indices.
 */
int card_ble_publish(const struct card_sample *sample,
                     const struct opt4001_sample *opt4001,
                     const struct bme690_sample *bme690,
                     const struct sgp41_sample *sgp41,
                     const struct stcc4_sample *stcc4,
                     const struct sfa40_sample *sfa40);
#endif /* CARD_BLE_H_ */
```

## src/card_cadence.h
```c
#ifndef CARD_CADENCE_H_
#define CARD_CADENCE_H_

#include <stdint.h>

#define CARD_SAMPLE_PERIOD_MS 1000
#define CARD_BLE_PERIOD_MS 60000
#if defined(CONFIG_CARD_TEST_CADENCE) && CONFIG_CARD_TEST_CADENCE
#define CARD_IO_PERIOD_MS 40000
#else
#define CARD_IO_PERIOD_MS 600000
#endif

/* Preserve phase after slow I/O. Never issue a burst of stale periods. */
static inline int64_t card_cadence_advance(int64_t deadline, int64_t now, int64_t period)
{
	if (period <= 0 || now < deadline) { return deadline; }
	return deadline + ((now - deadline) / period + 1) * period;
}

#endif
```

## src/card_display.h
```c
#ifndef CARD_DISPLAY_H_
#define CARD_DISPLAY_H_

#include <stdbool.h>
#include <stddef.h>
#include <stdint.h>

#include "card_sample.h"
#include "switch_test.h"
#include <env_telemetry_ble.h>

enum card_display_mode {
	CARD_DISPLAY_GRAPH,
	CARD_DISPLAY_IMAGE,
};

/* Initialize the live dashboard; board display power must already be stable. */
int card_display_init(bool use_gas_indices);

/* Record a measurement; each ten-minute slot keeps its latest actual reading.
 * Unknown uptime axes are kept separate across boots; UTC data can be merged.
 * This performs no I/O and holds a short O(8) mutex.
 */
void card_display_record(const struct card_sample *sample);

/* Storage-worker restore API. anchor_s is the final saved UTC/uptime timestamp.
 * Stream records newest-first or oldest-first; only the newest row in each
 * ten-minute slot is kept. Unknown-UTC restore is one file/session only.
 */
void card_display_saved_begin(bool utc_axis, uint64_t anchor_s);
void card_display_saved_record(const struct card_sample *sample);
void card_display_saved_end(void);

/* Explicitly request an asynchronous refresh of the selected screen; returns
 * -EALREADY while one is queued/busy. Images may be redisplayed by this API.
 */
int card_display_refresh(void);

/* Periodic dashboard update (including the initial default graph). In image
 * mode this returns zero without queuing, loading, or refreshing the panel.
 * Image changes and user actions use the explicit APIs above/below instead.
 */
int card_display_refresh_periodic(void);

/* Select and refresh a screen. Changes during a refresh coalesce into the
 * final requested mode, without interrupting a panel update already started.
 */
int card_display_set_mode(enum card_display_mode mode);

/* Bluetooth callback: never blocks on SPI or the slow physical refresh.
 * Enrollment suppresses ordinary screens until pairing finishes/expires.
 */
void card_display_pairing_event(enum env_telemetry_pairing_event event,
                                unsigned int passkey, uint32_t request_id,
                                void *context);

/* Optional native 400x600 packed 4bpp image (EPD3IN6E_FRAME_BYTES bytes).
 * Only the panel's six colors are accepted. No image buffer is allocated.
 * Keep the buffer unchanged/alive until successfully replaced/cleared while
 * idle. Returns -EBUSY during any refresh. NULL with length zero clears it.
 * An unset image shows an explicit built-in "IMAGE NOT SET" test pattern.
 */
int card_display_set_image(const uint8_t *image, size_t length);

/* Select a persistent image prefix/file (e.g. /SD:/CARDIMG). The image service
 * verifies its header/checksum and loads it into the existing display frame.
 * No additional framebuffer or I/O occurs here. Requests made while refreshing
 * coalesce; the worker reports physical refresh success/failure to the service.
 */
int card_display_set_image_file(const char *path);

/* Boot-only registration: remember the persisted prefix without selecting an
 * image, requesting refresh, or suppressing automatic saved-history display.
 */
int card_display_register_image_file(const char *path);

/* main forwards direction presses and synthesizes PUSH only on short release:
 * PUSH graph/image, UP saved history, DOWN current graph. Long holds are owned
 * by physical BLE enrollment and never forwarded here. Releases are ignored;
 * buttons do not initiate sensor reads.
 */
void card_display_button(enum card_switch_contact contact, bool pressed,
			 uint32_t count, void *context);

#endif
```

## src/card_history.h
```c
#ifndef CARD_HISTORY_H_
#define CARD_HISTORY_H_

/* Append-only authenticated GATT history service. Its worker reads SD and the
 * existing pending measurement ring; no filesystem call runs in BLE callbacks.
 */
int card_history_init(void);

#endif
```

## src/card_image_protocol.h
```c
#ifndef CARD_IMAGE_PROTOCOL_H_
#define CARD_IMAGE_PROTOCOL_H_
#include <errno.h>
#include <stdbool.h>
#include <stddef.h>
#include <stdint.h>
#include <string.h>

#define CARD_IMAGE_BYTES 120000U
#define CARD_IMAGE_MAX_CHUNK 232U
#define CARD_IMAGE_COMMITTED 0xc17e0001U
enum card_image_state { IMAGE_IDLE, IMAGE_RECEIVING, IMAGE_STORED, IMAGE_ERROR,
    IMAGE_DISPLAYING, IMAGE_DISPLAYED, IMAGE_PREPARING, IMAGE_COMMITTING };
struct card_image_begin { uint32_t id, crc; };
struct card_image_chunk { uint32_t id, offset; const uint8_t *bytes; size_t length; };
static inline uint32_t image_get32(const uint8_t *p) {
    return (uint32_t)p[0] | (uint32_t)p[1]<<8 | (uint32_t)p[2]<<16 | (uint32_t)p[3]<<24;
}
static inline void image_put32(uint8_t *p, uint32_t v) {
    for (unsigned int i=0;i<4;++i) p[i]=(uint8_t)(v>>(8*i));
}
static inline bool image_palette_valid(const uint8_t *p, size_t length) {
    for (size_t i=0;i<length;++i) {
        uint8_t a=p[i]>>4,b=p[i]&15;
        if (!((a<=3||a==5||a==6)&&(b<=3||b==5||b==6))) return false;
    }
    return true;
}
/* Standard reflected IEEE CRC32; initial=0, incremental=zlib.crc32 semantics. */
static inline uint32_t image_crc32(uint32_t crc,const uint8_t *p,size_t length) {
    crc=~crc;
    for(size_t i=0;i<length;++i) {
        crc^=p[i];
        for(unsigned int bit=0;bit<8;++bit) crc=(crc>>1)^(0xedb88320U & (0U-(crc&1U)));
    }
    return ~crc;
}
static inline int image_decode_begin(const uint8_t *p,size_t len,struct card_image_begin *out) {
    if (!p||!out||len!=20||p[0]!='I'||p[1]!='C'||p[2]!=1||p[3]!=1||!image_get32(p+4)||
        image_get32(p+8)!=CARD_IMAGE_BYTES||p[16]!=0x90||p[17]!=1||p[18]!=0x58||p[19]!=2) return -EINVAL;
    *out=(struct card_image_begin){image_get32(p+4),image_get32(p+12)}; return 0;
}
static inline int image_decode_command(const uint8_t *p,size_t len,uint8_t *op,uint32_t *id) {
    if(!p||len!=8||p[0]!='I'||p[1]!='C'||p[2]!=1||(p[3]!=2&&p[3]!=3)||!image_get32(p+4)) return -EINVAL;
    *op=p[3]; *id=image_get32(p+4); return 0;
}
static inline int image_decode_chunk(const uint8_t *p,size_t len,struct card_image_chunk *out) {
    if(!p||!out||len<=12||len>12+CARD_IMAGE_MAX_CHUNK||p[0]!='I'||p[1]!='D'||p[2]!=1||p[3]||
       !image_get32(p+4)||image_get32(p+8)>CARD_IMAGE_BYTES||len-12>CARD_IMAGE_BYTES-image_get32(p+8)||
       !image_palette_valid(p+12,len-12)) return -EINVAL;
    *out=(struct card_image_chunk){image_get32(p+4),image_get32(p+8),p+12,len-12}; return 0;
}
/* 0=new sequential chunk, 1=identical last retry, negative=out of order. */
static inline int image_chunk_order(const struct card_image_chunk *chunk,uint32_t id,uint32_t received,
    uint32_t last_offset,size_t last_length,const uint8_t *last_bytes) {
    if(chunk->id!=id) return -EINVAL;
    if(chunk->offset==received) return 0;
    if(last_length&&chunk->offset==last_offset&&chunk->length==last_length&&
       !memcmp(chunk->bytes,last_bytes,last_length)) return 1;
    return -EINVAL;
}
static inline void image_file_header(uint8_t h[32],uint32_t crc,uint32_t generation,bool committed) {
    memset(h,0,32); h[0]='C';h[1]='I';h[2]=1;h[3]=32;
    h[4]=0x90;h[5]=1;h[6]=0x58;h[7]=2;
    image_put32(h+8,CARD_IMAGE_BYTES);image_put32(h+12,crc);image_put32(h+16,generation);
    image_put32(h+20,committed?CARD_IMAGE_COMMITTED:0);
}
static inline int image_check_header(const uint8_t h[32]) {
    if(h[0]!='C'||h[1]!='I'||h[2]!=1||h[3]!=32||h[4]!=0x90||h[5]!=1||h[6]!=0x58||h[7]!=2||
       image_get32(h+8)!=CARD_IMAGE_BYTES||!image_get32(h+16)||image_get32(h+20)!=CARD_IMAGE_COMMITTED) return -EBADMSG;
    for(size_t i=24;i<32;++i) if(h[i]) return -EBADMSG;
    return 0;
}
#endif
```

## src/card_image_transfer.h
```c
#ifndef CARD_IMAGE_TRANSFER_H_
#define CARD_IMAGE_TRANSFER_H_
#include <stddef.h>
#include <stdint.h>
int card_image_transfer_init(void);
int card_image_load_file(const char *prefix,uint8_t *frame,size_t length);
uint32_t card_image_display_started(void);
void card_image_display_result(uint32_t request_token,int error);
#endif
```

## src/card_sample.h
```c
#ifndef CARD_SAMPLE_H_
#define CARD_SAMPLE_H_

#include <stdint.h>

enum card_sample_valid {
	CARD_VALID_TEMPERATURE = 1U << 0,
	CARD_VALID_HUMIDITY = 1U << 1,
	CARD_VALID_PRESSURE = 1U << 2,
	CARD_VALID_CO2 = 1U << 3,
	CARD_VALID_LUX = 1U << 4,
	CARD_VALID_BME_TEMPERATURE = 1U << 5,
	CARD_VALID_BME_HUMIDITY = 1U << 6,
	CARD_VALID_BME_GAS = 1U << 7,
	CARD_VALID_VOC_RAW = 1U << 8,
	CARD_VALID_NOX_RAW = 1U << 9,
	CARD_VALID_VOC_INDEX = 1U << 10,
	CARD_VALID_NOX_INDEX = 1U << 11,
	CARD_VALID_HCHO = 1U << 12,
};

enum card_rht_source {
	CARD_RHT_NONE,
	CARD_RHT_SHT45,
	CARD_RHT_BME690,
};

/* One measured sample. Fields without a valid bit are missing, not zero.
 * unix_s is UTC seconds supplied by a trusted receiver; zero means unknown.
 * uptime_s always remains seconds since this MCU boot.
 */
struct card_sample {
	uint32_t sequence;
	uint32_t uptime_s;
	uint64_t unix_s;
	int32_t temperature_mc;
	uint32_t humidity_mpercent;
	int32_t hcho_millippb;
	int32_t bme_temperature_mc;
	uint32_t bme_humidity_mpercent;
	uint32_t pressure_pa;
	uint32_t gas_resistance_ohm;
	uint32_t millilux;
	int16_t co2_ppm;
	uint16_t raw_voc;
	uint16_t raw_nox;
	uint16_t voc_index;
	uint16_t nox_index;
	uint16_t stcc_status;
	uint16_t stcc_self_test;
	uint16_t valid;
	uint8_t rht_source;
	uint8_t gas_valid;
	uint8_t heater_stable;
	uint8_t reserved;
};

#endif
```
